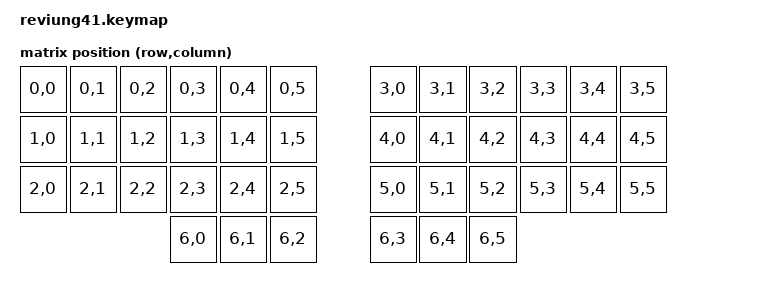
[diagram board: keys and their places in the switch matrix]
/*
 * Copyright (c) 2020 The ZMK Contributors
 *
 * SPDX-License-Identifier: MIT
 */

/* 41 KEY MATRIX / LAYOUT MAPPING

  ╭────────────────────────┬────────────────────────╮
  │  0   1   2   3   4   5 │  6   7   8   9  10  11 │
  │ 12  13  14  15  16  17 │ 18  19  20  21  22  23 │
  │ 24  25  26  27  28  29 │ 30  31  32  33  34  35 │
  ╰───────────────╮ 36  37 38 39  40 ╭──────────────╯
                  ╰──────────────────╯
 ╭─────────────────────────┬─────────────────────────╮
 │ LT5 LT4 LT3 LT2 LT1 LT0 │ RT0 RT1 RT2 RT3 RT4 RT5 │
 │ LM5 LM4 LM3 LM2 LM1 LM0 │ RM0 RM1 RM2 RM3 RM4 RM5 │
 │ LB5 LB4 LB3 LB2 LB1 LB0 │ RB0 RB1 RB2 RB3 RB4 RB5 │
 ╰───────────────╮ LH2 LH1 LH0  RH0 RH1 ╭────────────╯
                 ╰──────────────────────╯
 */

#include <dt-bindings/zmk/matrix_transform.h>

#include "../../zmk-modules/zmk-helpers/include/zmk-helpers/helper.h"
/* source key position labels */
#include "../../zmk-modules/zmk-helpers/include/zmk-helpers/key-labels/41.h"

/* map extra keys */
#define X_LT  &kp GRAVE
#define X_LM  &smart_mouse
#define X_LB  &kp LGUI
// #define X_LH  SMART_NUM

#define X_RT  &kp BSPC
#define X_RM  &kp SQT
#define X_RB  SMART_NUM
// #define X_LH

// need to customize transform to handle the odd thumb key cluster
/ {
    chosen {
        zmk,physical-layout = &gtips_reviung41_layout;
    };

    default_transform: keymap_transform_0 {
        compatible = "zmk,matrix-transform";
        columns = <6>;
        rows = <7>;

        map = <
RC(0,0) RC(0,1) RC(0,2) RC(0,3) RC(0,4) RC(0,5) RC(3,0) RC(3,1) RC(3,2) RC(3,3) RC(3,4) RC(3,5)
RC(1,0) RC(1,1) RC(1,2) RC(1,3) RC(1,4) RC(1,5) RC(4,0) RC(4,1) RC(4,2) RC(4,3) RC(4,4) RC(4,5)
RC(2,0) RC(2,1) RC(2,2) RC(2,3) RC(2,4) RC(2,5) RC(5,0) RC(5,1) RC(5,2) RC(5,3) RC(5,4) RC(5,5)
                        RC(6,0)    RC(6,1)  RC(6,2)  RC(6,3)    RC(6,4) RC(6,5)
        >;
    };
};

/* source the main keymap */
#include "base.keymap"

ZMK_APPLY_MATRIX_TRANSFORM(default_transform)
